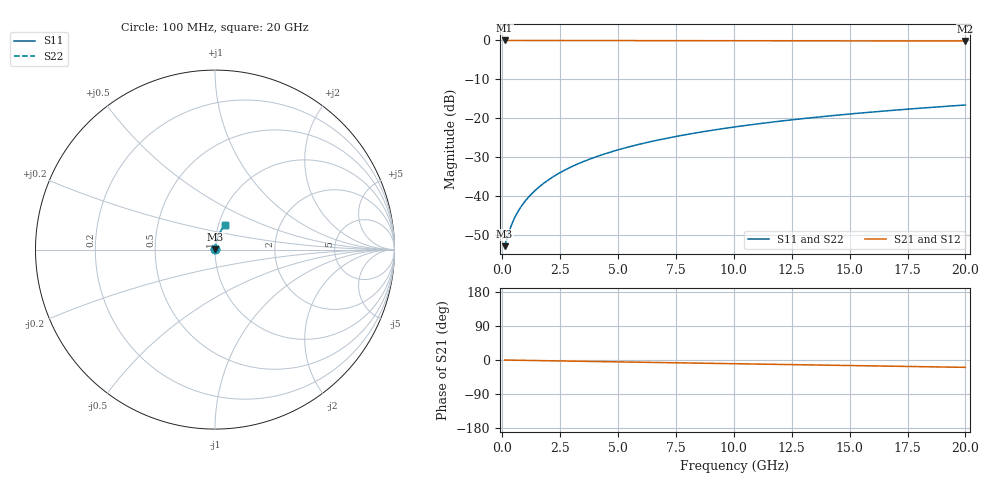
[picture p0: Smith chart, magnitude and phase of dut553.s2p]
! Touchstone file exported from HFSS 2026.1.0
!  File:  C:/ffzhzh/LocalFiles/Ansys_Project_Files/temp_train_TMRDL_553_1783007716_53980.aedt
!  Generated:  11:56:40 PM Jul  2, 2026
!  Design:  TMRDL
!  Project:  temp_train_TMRDL_553_1783007716_53980
! Variables:
!  h_bsmrdl = 2um
!  h_ox = 20um
!  h_rdl = 5um
!  h_sub = 80um
!  h_tmrdl = 2.5um
!  h_tsv = 80um
!  h_via = 3um
!  l_bsmrdl = 300um
!  l_sub = 683.39um
!  l_tmrdl = 283.39um
!  m_sub = 200um
!  pitch = 36.9um
!  r_tsv = 6um
!  s_tmrdl = 10um
!  w_bsmrdl = 18um
!  w_sub = 500um
!  w_tmrdl = 23.1um
!  x_tsv_center1 = 294.94um
!  x_tsv_center2 = 612.94um
!  x_tsv_center3 = 919.43um
!  x_tsv_center4 = 1237.43um
!  x_tsv_center5 = 1543.92um
!  x_tsv_center6 = 1861.92um
# GHz S MA R 50.000000
! Terminal data exported
! Port[1] = TM_RDL1_1_T1
! Port[2] = TM_RDL1_1_T2
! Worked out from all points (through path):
!   200 points, 100 MHz to 20 GHz, reference 50 ohm
!   highest |S21| = -0.02 dB at 100 MHz (marker M1); lowest = -0.2 dB at 20 GHz (marker M2)
!   group delay of S21, straight-line fit = 2.69 ps
!   lowest |S11| = -52.9 dB at 100 MHz (marker M3), VSWR 1.00, Z = 50.2 + j0.0943 ohm
!   |S11| at or under -10 dB: start of sweep to end of sweep
!   |S22| runs from -52.9 to -16.6 dB; largest |S21 - S12| = 3.1e-15
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0.1  0.002275 24.4  0.9979 -0.1  0.9979 -0.1  0.002275 24.4
! Gamma 0 0 0 0
! Port Impedance 50 0 50 0
0.3  0.00354 50.4  0.9977 -0.3  0.9977 -0.3  0.00354 50.4
0.4  0.004282 56.3  0.9976 -0.4  0.9976 -0.4  0.004282 56.3
0.5  0.005028 60.4  0.9975 -0.5  0.9975 -0.5  0.005028 60.4
0.6  0.005769 63.3  0.9975 -0.6  0.9975 -0.6  0.005769 63.3
0.7  0.006506 65.7  0.9974 -0.7  0.9974 -0.7  0.006506 65.7
0.9  0.007976 69.2  0.9973 -0.9  0.9973 -0.9  0.007976 69.2
1.2  0.01019 72.7  0.9971 -1.2  0.9971 -1.2  0.01019 72.7
1.4  0.01169 74.3  0.9971 -1.4  0.9971 -1.4  0.01169 74.3
1.7  0.01395 76.1  0.997 -1.7  0.997 -1.7  0.01395 76.1
2.2  0.01775 78.0  0.9969 -2.2  0.9969 -2.2  0.01775 78.0
2.8  0.02235 79.2  0.9967 -2.8  0.9967 -2.8  0.02235 79.2
3.5  0.02774 79.9  0.9964 -3.5  0.9964 -3.5  0.02774 79.9
4.2  0.03314 80.1  0.9961 -4.2  0.9961 -4.2  0.03314 80.1
5  0.03929 80.0  0.9958 -4.9  0.9958 -4.9  0.03929 80.0
5.9  0.04618 79.6  0.9953 -5.8  0.9953 -5.8  0.04618 79.6
6.8  0.05304 79.1  0.9947 -6.7  0.9947 -6.7  0.05304 79.1
8.3  0.06438 78.1  0.9937 -8.2  0.9937 -8.2  0.06438 78.1
10.1  0.07781 76.6  0.9923 -9.9  0.9923 -9.9  0.07781 76.6
13.4  0.1019 73.8  0.9892 -13.1  0.9892 -13.1  0.1019 73.8
16.7  0.1253 70.8  0.9858 -16.3  0.9858 -16.3  0.1253 70.8
20  0.148 67.9  0.9819 -19.4  0.9819 -19.4  0.148 67.9
